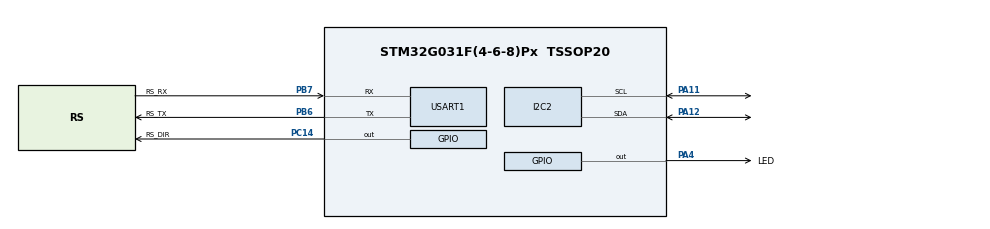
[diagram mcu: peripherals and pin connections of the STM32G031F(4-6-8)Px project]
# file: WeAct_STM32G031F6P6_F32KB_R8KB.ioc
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I2C2.Timing=0x10707DBC
Mcu.Family=STM32G0
Mcu.Name=STM32G031F(4-6-8)Px
Mcu.Package=TSSOP20
PA11\ [PA9].Mode=I2C
PA11\ [PA9].Signal=I2C2_SCL
PA12\ [PA10].Mode=I2C
PA12\ [PA10].Signal=I2C2_SDA
PA13.Mode=Serial_Wire
PA13.Signal=SYS_SWDIO
PA14-BOOT0.Mode=Serial_Wire
PA14-BOOT0.Signal=SYS_SWCLK
PA14-BOOT0__PA15.StandardMode=true
PA4.GPIO_Label=LED
PA4.Signal=GPIO_Output
PB0__PB1__PB2__PA8.StandardMode=true
PB3__PB4__PB5__PB6.StandardMode=true
PB6.GPIO_Label=RS_TX
PB6.Mode=Asynchronous
PB6.Signal=USART1_TX
PB7.GPIO_Label=RS_RX
PB7.Mode=Asynchronous
PB7.Signal=USART1_RX
PB7__PB8.StandardMode=true
PC14-OSC32_IN\ (PC14).GPIO_Label=RS_DIR
PC14-OSC32_IN\ (PC14).Signal=GPIO_Output
PC14-OSC32_IN\ (PC14)__PB9.StandardMode=true
ProjectManager.HeapSize=0x200
ProjectManager.StackSize=0x400
ProjectManager.TargetToolchain=STM32CubeIDE
RCC.ADCFreq_Value=64000000
RCC.AHBFreq_Value=64000000
RCC.CortexFreq_Value=64000000
RCC.EXTERNAL_CLOCK_VALUE=12288000
RCC.HCLKFreq_Value=64000000
RCC.HSE_VALUE=8000000
RCC.HSI_VALUE=16000000
RCC.LSE_VALUE=32768
RCC.SYSCLKFreq_VALUE=64000000
RCC.SYSCLKSource=RCC_SYSCLKSOURCE_PLLCLK
RCC.VCOOutputFreq_Value=128000000
USART1.VirtualMode-Asynchronous=VM_ASYNC
VP_CRC_VS_CRC.Mode=CRC_Activate
board=custom

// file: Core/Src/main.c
/* USER CODE BEGIN Header */
/**
  ******************************************************************************
  * @file           : main.c
  * @brief          : Main program body
  ******************************************************************************
  * @attention
  *
  * Copyright (c) 2024 STMicroelectronics.
  * All rights reserved.
  *
  * This software is licensed under terms that can be found in the LICENSE file
  * in the root directory of this software component.
  * If no LICENSE file comes with this software, it is provided AS-IS.
  *
  ******************************************************************************
  */
/* USER CODE END Header */
#include "main.h"
#include "crc.h"
#include "i2c.h"
#include "usart.h"
#include "gpio.h"

/* USER CODE BEGIN Includes */
#include <stdio.h>
/* USER CODE END Includes */

/* USER CODE BEGIN PD */
#if defined (__ICCARM__) || defined (__ARMCC_VERSION)
#define PUTCHAR_PROTOTYPE int fputc(int ch, FILE *f)
#elif defined(__GNUC__)
   /* With GCC, small printf (option LD Linker->Libraries->Small printf
   set to 'Yes') calls __io_putchar() */
#define PUTCHAR_PROTOTYPE int __io_putchar(int ch)
#endif /* __ICCARM__ || __ARMCC_VERSION */
/* USER CODE END PD */

void SystemClock_Config(void);

/* USER CODE BEGIN 0 */
/**
  * @brief  Retargets the C library printf function to the USART.
  * @param  None
  * @retval None
  */
PUTCHAR_PROTOTYPE
{
  /* Place your implementation of fputc here */
  /* e.g. write a character to the USART2 and Loop until the end of transmission */
	  /* Wait for TXE flag to be raised */
  while (!LL_USART_IsActiveFlag_TXE(USART1));

  /* Write character in Transmit Data register.
  TXE flag is cleared by writing data in TDR register */
  LL_USART_TransmitData8(USART1, (uint8_t)ch);
  LL_USART_ClearFlag_TC(USART1);

  /* Wait for TC flag to be raised for last char */
  while (!LL_USART_IsActiveFlag_TC(USART1));

  return ch;
}
/* USER CODE END 0 */

int main(void)
{

  /* MCU Configuration--------------------------------------------------------*/

  /* Reset of all peripherals, Initializes the Flash interface and the Systick. */
  LL_APB2_GRP1_EnableClock(LL_APB2_GRP1_PERIPH_SYSCFG);
  LL_APB1_GRP1_EnableClock(LL_APB1_GRP1_PERIPH_PWR);

  /* SysTick_IRQn interrupt configuration */
  NVIC_SetPriority(SysTick_IRQn, 3);

  /* Configure the system clock */
  SystemClock_Config();

  /* Initialize all configured peripherals */
  MX_GPIO_Init();
  MX_CRC_Init();
  MX_I2C2_Init();
  MX_USART1_UART_Init();

  /* Infinite loop */
  /* USER CODE BEGIN WHILE */
  while (1)
  {
	LL_GPIO_TogglePin(LED_GPIO_Port, LED_Pin);
	LL_mDelay(1000);
    /* USER CODE END WHILE */

    /* USER CODE BEGIN 3 */
	printf("Hello from STM32G031 !!! \r\n");
  }
  /* USER CODE END 3 */
}

void SystemClock_Config(void)
{
  LL_FLASH_SetLatency(LL_FLASH_LATENCY_2);
  while(LL_FLASH_GetLatency() != LL_FLASH_LATENCY_2)
  {
  }

  /* HSI configuration and activation */
  LL_RCC_HSI_Enable();
  while(LL_RCC_HSI_IsReady() != 1)
  {
  }

  /* Main PLL configuration and activation */
  LL_RCC_PLL_ConfigDomain_SYS(LL_RCC_PLLSOURCE_HSI, LL_RCC_PLLM_DIV_1, 8, LL_RCC_PLLR_DIV_2);
  LL_RCC_PLL_Enable();
  LL_RCC_PLL_EnableDomain_SYS();
  while(LL_RCC_PLL_IsReady() != 1)
  {
  }

  /* Set AHB prescaler*/
  LL_RCC_SetAHBPrescaler(LL_RCC_SYSCLK_DIV_1);

  /* Sysclk activation on the main PLL */
  LL_RCC_SetSysClkSource(LL_RCC_SYS_CLKSOURCE_PLL);
  while(LL_RCC_GetSysClkSource() != LL_RCC_SYS_CLKSOURCE_STATUS_PLL)
  {
  }

  /* Set APB1 prescaler*/
  LL_RCC_SetAPB1Prescaler(LL_RCC_APB1_DIV_1);

  LL_Init1msTick(64000000);

  /* Update CMSIS variable (which can be updated also through SystemCoreClockUpdate function) */
  LL_SetSystemCoreClock(64000000);
}

void Error_Handler(void)
{
  __disable_irq();
  while (1)
  {
  }
}
